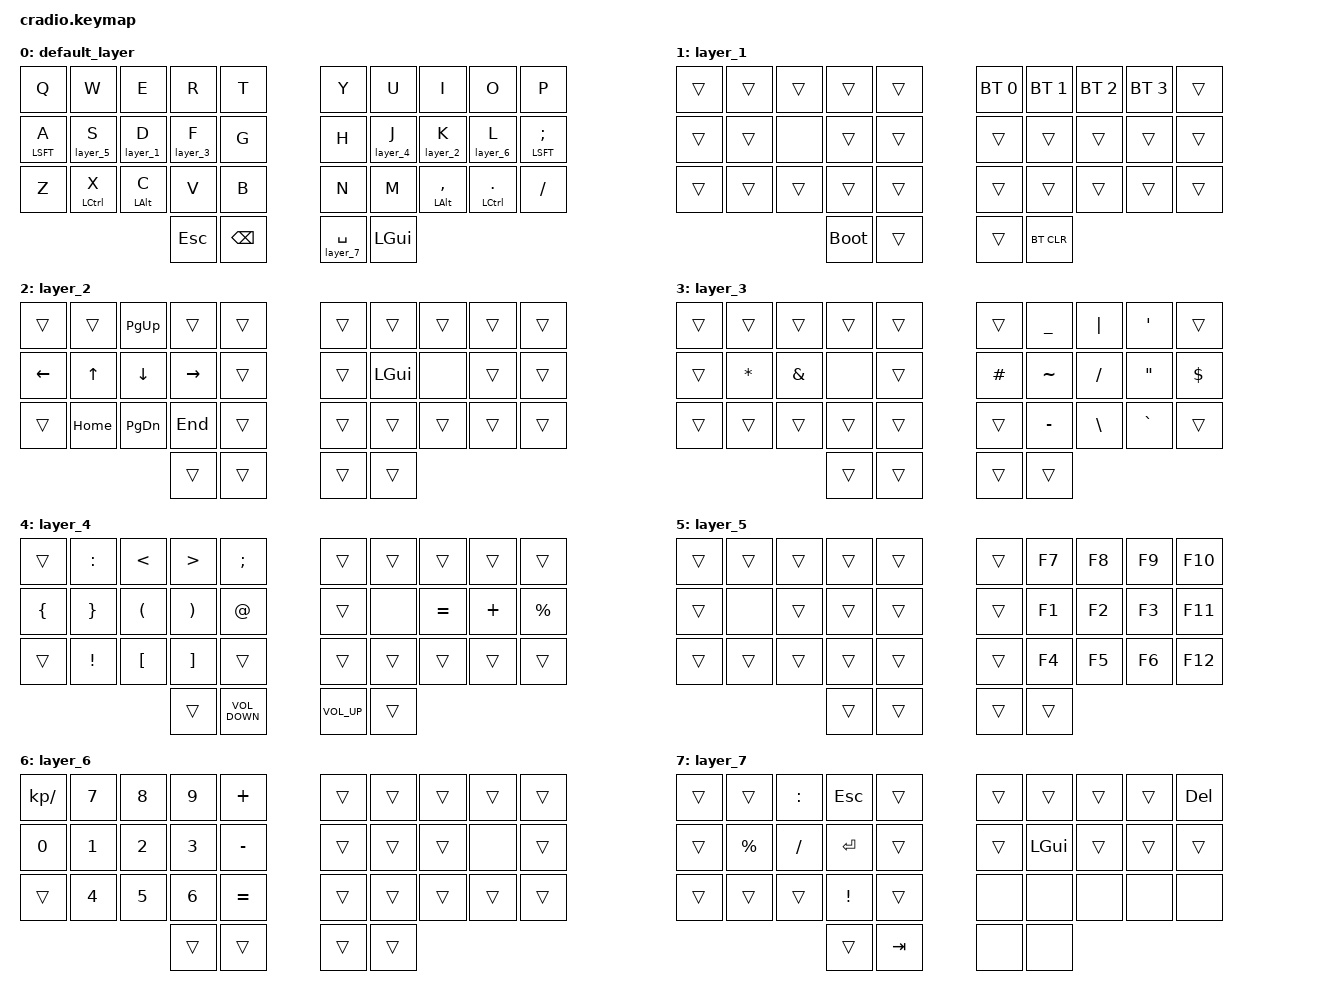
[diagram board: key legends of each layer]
/*
 * Copyright (c) 2020 The ZMK Contributors
 *
 * SPDX-License-Identifier: MIT
 */

#include <behaviors.dtsi>
#include <dt-bindings/zmk/keys.h>
#include <dt-bindings/zmk/bt.h>

#define base_l 0
#define layer_1 1
#define layer_2 2
#define layer_3 3
#define layer_4 4
#define layer_5 5
#define layer_6 6
#define layer_7 7




&lt {
  //  flavor = "tap-preferred";
   quick_tap_ms = <200>;
};

&mt {
  //  flavor = "tap-preferred";
   quick_tap_ms = <200>;
};

/ { 

    combos {
        compatible = "zmk,combos";
    };

        keymap {
                compatible = "zmk,keymap";

       		default_layer {
		bindings = <
		&kp Q &kp W &kp E &kp R &kp T 						&kp Y &kp U  &kp I    &kp O   &kp P 
		&mt LSFT A &lt layer_5 S &lt layer_1 D &lt layer_3 F &kp G 		&kp H &lt layer_4 J &lt layer_2 K &lt layer_6 L &mt LSFT SEMICOLON
		&kp Z &mt LCTRL X &mt LALT C &kp V &kp B				&kp N &kp M  &mt LALT COMMA &mt LCTRL DOT &kp SLASH
          				&kp ESCAPE &kp BACKSPACE  			&lt layer_7 SPC &kp LGUI 
		>;
		};

       		layer_1 {
		bindings = <
		&trans &trans &trans &trans &trans		 			&bt BT_SEL 0 &bt BT_SEL 1 &bt BT_SEL 2 &bt BT_SEL 3 &trans
		&trans &trans &none &trans &trans 					&trans &trans &trans &trans &trans
		&trans &trans &trans &trans &trans 					&trans &trans &trans &trans &trans
					    &bootloader &trans  			&trans &bt BT_CLR 
		>;
		};

		layer_2 {
		bindings = <
		&trans &trans &kp PG_UP &trans &trans    				&trans &trans &trans &trans &trans 
		&kp LEFT &kp UP &kp DOWN &kp RIGHT &trans				&trans &kp LGUI &none &trans &trans
		&trans &kp HOME &kp PG_DN &kp END &trans				&trans &trans &trans &trans &trans
		&trans &trans								&trans &trans
		>;
		};	

		layer_3 {
		bindings = <
		&trans &trans &trans &trans &trans			 			&trans &kp UNDER &kp PIPE &kp SINGLE_QUOTE &trans
		&trans &kp ASTERISK &kp AMPERSAND &none &trans 				&kp HASH &kp TILDE &kp SLASH &kp DOUBLE_QUOTES &kp DOLLAR 
		&trans &trans &trans &trans &trans   						&trans &kp MINUS &kp BACKSLASH &kp GRAVE &trans   
					 &trans &trans  					&trans &trans 
		>;
		};
		
		layer_4 {
		bindings = <
		&trans &kp COLON &kp LT &kp GT &kp SEMICOLON							&trans &trans &trans &trans &trans
		&kp LEFT_BRACE &kp RIGHT_BRACE &kp LEFT_PARENTHESIS &kp RIGHT_PARENTHESIS &kp AT		&trans &none &kp EQUAL &kp PLUS &kp PERCENT 
		&trans &kp EXCLAMATION &kp LEFT_BRACKET &kp RIGHT_BRACKET &trans				&trans &trans &trans &trans &trans  
		&trans &kp K_VOLUME_DOWN 									&kp K_VOLUME_UP &trans
		>;
		};
		
		layer_5 {
		bindings = <
		&trans &trans &trans &trans &trans					&trans &kp F7 &kp F8 &kp F9 &kp F10
		&trans &none &trans &trans &trans					&trans &kp F1 &kp F2 &kp F3 &kp F11
		&trans &trans &trans &trans &trans					&trans &kp F4 &kp F5 &kp F6 &kp F12
		&trans &trans								&trans &trans
		>;
		};
		
		layer_6 {
		bindings = <
		&kp KP_SLASH &kp N7 &kp N8 &kp N9 &kp PLUS						&trans &trans &trans &trans &trans
		&kp N0 &kp N1 &kp N2 &kp N3 &kp MINUS						&trans &trans &trans &none &trans
		&trans &kp N4 &kp N5 &kp N6 &kp EQUAL						&trans &trans &trans &trans &trans
		&trans &trans								&trans &trans
		>;
		};
		
		layer_7 {
		bindings = <
		&trans &trans &kp COLON &kp ESCAPE &trans						&trans &trans &trans &trans &kp DELETE
		&trans &kp PERCENT &kp SLASH &kp ENTER &trans						&trans &kp LGUI &trans &trans &trans
		&trans &trans &trans &kp EXCLAMATION &trans						&none &none &none &none &none
		&trans &kp TAB										&none &none
		>;
		};
	};
};
